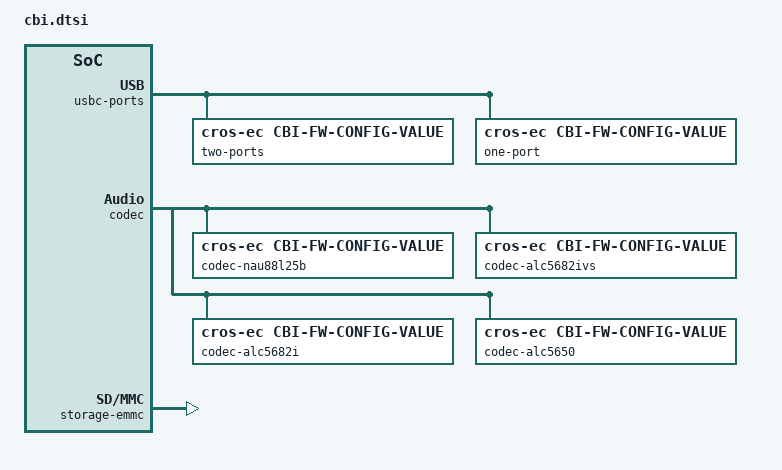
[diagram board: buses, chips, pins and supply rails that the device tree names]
/* Copyright 2025 The ChromiumOS Authors
 * Use of this source code is governed by a BSD-style license that can be
 * found in the LICENSE file.
 */

/ {
/* Vader-specific fw_config fields. */
	vader-fw-config {
		compatible = "cros-ec,cbi-fw-config";

		series {
			enum-name = "SERIES";
			start = <1>;
			size = <1>;

			series-vader {
				compatible = "cros-ec,cbi-fw-config-value";
				enum-name = "SERIES_VADER";
				value = <0>;
				default;
			};
			series-sidious {
				compatible = "cros-ec,cbi-fw-config-value";
				enum-name = "SERIES_SIDIOUS";
				value = <1>;
			};
		};
		usbc-ports {
			enum-name = "USBC_PORTS";
			start = <2>;
			size = <1>;

			two-ports {
				compatible = "cros-ec,cbi-fw-config-value";
				enum-name = "TWO_PORTS";
				value = <0>;
			};
			one-port {
				compatible = "cros-ec,cbi-fw-config-value";
				enum-name = "ONE_PORT";
				value = <1>;
			};
		};
		codec {
			enum-name = "CODEC";
			start = <22>;
			size = <3>;

			codec-nau88l25b {
				compatible = "cros-ec,cbi-fw-config-value";
				enum-name = "CODEC_NAU88L25B";
				value = <0>;
			};
			codec-alc5682ivs {
				compatible = "cros-ec,cbi-fw-config-value";
				enum-name = "CODEC_ALC5682IVS";
				value = <1>;
			};
			codec-alc5682i {
				compatible = "cros-ec,cbi-fw-config-value";
				enum-name = "CODEC_ALC5682I";
				value = <2>;
			};
			codec-alc5650 {
				compatible = "cros-ec,cbi-fw-config-value";
				enum-name = "CODEC_ALC5650";
				value = <3>;
			};
		};
		AMP {
			enum-name = "AMP";
			start = <25>;
			size = <3>;

			amp-rt9123 {
				compatible = "cros-ec,cbi-fw-config-value";
				enum-name = "AMP_RT9123";
				value = <0>;
			};
			amp-alc0109 {
				compatible = "cros-ec,cbi-fw-config-value";
				enum-name = "AMP_ALC0109";
				value = <1>;
			};
			amp-aw88081 {
				compatible = "cros-ec,cbi-fw-config-value";
				enum-name = "AMP_AW88081";
				value = <2>;
			};
			amp-alc5650 {
				compatible = "cros-ec,cbi-fw-config-value";
				enum-name = "AMP_ALC5650";
				value = <3>;
			};
		};
		form-factor {
			enum-name = "FORM_FACTOR";
			start = <28>;
			size = <2>;

			convertible {
				compatible = "cros-ec,cbi-fw-config-value";
				enum-name = "CONVERTIBLE";
				value = <0>;
			};
			clamshell {
				compatible = "cros-ec,cbi-fw-config-value";
				enum-name = "CLAMSHELL";
				value = <1>;
			};
		};
		storage {
			enum-name = "STORAGE";
			start = <30>;
			size = <2>;

			storage-ufs3x {
				compatible = "cros-ec,cbi-fw-config-value";
				enum-name = "STORAGE_UFS3X";
				value = <0>;
			};
			storage-ufs2x {
				compatible = "cros-ec,cbi-fw-config-value";
				enum-name = "STORAGE_UFS2X";
				value = <1>;
			};
			storage-emmc {
				compatible = "cros-ec,cbi-fw-config-value";
				enum-name = "STORAGE_EMMC";
				value = <2>;
			};
		};
	};
};
